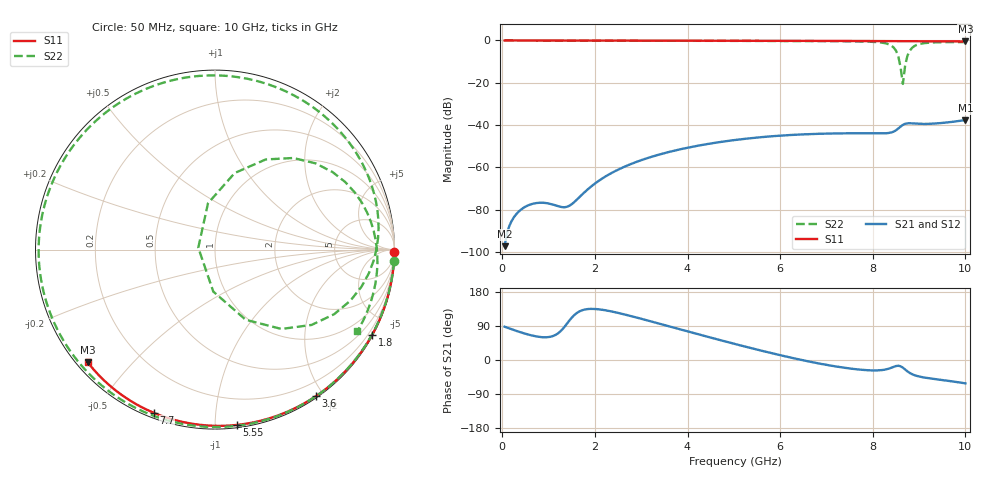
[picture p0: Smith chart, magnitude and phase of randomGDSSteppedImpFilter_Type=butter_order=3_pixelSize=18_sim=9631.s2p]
! freq	dB(S11)	phase(S11)	dB(S12)	phase(S12)
!  dB(S21)	phase(S21)	dB(S22)	phase(S22)
!S-par simulation data
#  GHz  S  DB  R 50
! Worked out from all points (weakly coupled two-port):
!   200 points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, 50 MHz to 10 GHz, reference 50 ohm
!   highest |S21| = -37.67 dB at 10 GHz (marker M1); lowest = -97.3 dB at 50 MHz (marker M2)
!   lowest |S11| = -0.5 dB at 10 GHz (marker M3), VSWR 36.97, Z = 1.55 - j18.9 ohm
!   |S11| at or under -10 dB: nowhere
!   |S22| runs from -20.6 to 0.0 dB; largest |S21 - S12| = 0
!   S11 on the Smith chart (normalised r, x): 50 MHz: open; 1.8 GHz: 0.03, -3.95; 3.6 GHz: 0.02, -1.90; 5.55 GHz: 0.02, -1.13; 7.7 GHz: 0.02, -0.69; 10 GHz: 0.03, -0.38
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0.05  -0.00 -0.8  -97.29 87.8  -97.29 87.8  -0.00 -3.7
0.45  -0.01 -7.2  -79.27 71.1  -79.27 71.1  -0.05 -32.6
0.9  -0.02 -14.3  -76.80 60.0  -76.80 60.0  -0.08 -62.9
1.4  -0.03 -22.2  -78.65 96.5  -78.65 96.5  -0.10 -92.8
1.75  -0.04 -27.6  -72.32 132.2  -72.32 132.2  -0.11 -111.2
1.8  -0.04 -28.4  -71.31 133.6  -71.31 133.6  -0.11 -113.6
2.55  -0.05 -39.9  -60.59 122.9  -60.59 122.9  -0.13 -147.0
3.4  -0.07 -52.6  -53.90 95.6  -53.90 95.6  -0.15 -179.0
3.6  -0.07 -55.5  -52.74 88.9  -52.74 88.9  -0.16 174.0
5.05  -0.12 -76.0  -47.01 41.4  -47.01 41.4  -0.21 125.6
5.55  -0.14 -82.8  -45.82 26.0  -45.82 26.0  -0.23 108.8
6.7  -0.19 -97.9  -44.24 -5.9  -44.24 -5.9  -0.30 68.2
7.7  -0.25 -110.5  -43.88 -25.1  -43.88 -25.1  -0.46 27.1
8.1  -0.28 -115.4  -43.93 -27.4  -43.93 -27.4  -0.81 4.0
8.35  -0.30 -118.5  -43.74 -22.7  -43.74 -22.7  -1.87 -20.7
8.55  -0.32 -121.0  -41.67 -15.2  -41.67 -15.2  -7.40 -66.4
8.65  -0.33 -122.2  -39.93 -20.2  -39.93 -20.2  -20.56 173.3
8.7  -0.33 -122.8  -39.41 -25.2  -39.41 -25.2  -11.67 98.6
8.75  -0.34 -123.4  -39.19 -30.1  -39.19 -30.1  -7.12 75.6
8.9  -0.35 -125.2  -39.30 -40.0  -39.30 -40.0  -2.64 40.6
9.25  -0.39 -129.5  -39.40 -48.8  -39.40 -48.8  -1.01 6.7
10  -0.47 -138.5  -37.67 -61.6  -37.67 -61.6  -0.78 -29.7
